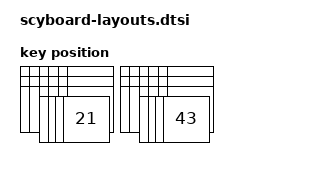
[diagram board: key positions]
#include <physical_layouts.dtsi>

/ {
    physical_layout0: physical_layout_0 {
        compatible = "zmk,physical-layout";
        display-name = "scyboard";

        kscan = <&kscan0>;
        transform = <&default_transform>;

        keys =
            <&key_physical_attrs 100 100  50  0   0  0  0>
          , <&key_physical_attrs 100 100  69  0   0  0  0>
          , <&key_physical_attrs 100 100  88  0   0  0  0>
          , <&key_physical_attrs 100 100 107  0   0  0  0>
          , <&key_physical_attrs 100 100 126  0   0  0  0>
          , <&key_physical_attrs 100 100 145  0   0  0  0>
          , <&key_physical_attrs 100 100  50 20   0  0  0>
          , <&key_physical_attrs 100 100  69 20   0  0  0>
          , <&key_physical_attrs 100 100  88 20   0  0  0>
          , <&key_physical_attrs 100 100 107 20   0  0  0>
          , <&key_physical_attrs 100 100 126 20   0  0  0>
          , <&key_physical_attrs 100 100 145 20   0  0  0>
          , <&key_physical_attrs 100 100  50 40   0  0  0>
          , <&key_physical_attrs 100 100  69 40   0  0  0>
          , <&key_physical_attrs 100 100  88 40   0  0  0>
          , <&key_physical_attrs 100 100 107 40   0  0  0>
          , <&key_physical_attrs 100 100 126 40   0  0  0>
          , <&key_physical_attrs 100 100 145 40   0  0  0>
          , <&key_physical_attrs 100 100  88 60   0  0  0>
          , <&key_physical_attrs 100 100 107 60   0  0  0>
          , <&key_physical_attrs 100 100 120 60   0  0  0>
          , <&key_physical_attrs 100 100 137 60   0  0  0>
          , <&key_physical_attrs 100 100 250  0   0  0  0>
          , <&key_physical_attrs 100 100 269  0   0  0  0>
          , <&key_physical_attrs 100 100 288  0   0  0  0>
          , <&key_physical_attrs 100 100 307  0   0  0  0>
          , <&key_physical_attrs 100 100 326  0   0  0  0>
          , <&key_physical_attrs 100 100 345  0   0  0  0>
          , <&key_physical_attrs 100 100 250 20   0  0  0>
          , <&key_physical_attrs 100 100 269 20   0  0  0>
          , <&key_physical_attrs 100 100 288 20   0  0  0>
          , <&key_physical_attrs 100 100 307 20   0  0  0>
          , <&key_physical_attrs 100 100 326 20   0  0  0>
          , <&key_physical_attrs 100 100 345 20   0  0  0>
          , <&key_physical_attrs 100 100 250 40   0  0  0>
          , <&key_physical_attrs 100 100 269 40   0  0  0>
          , <&key_physical_attrs 100 100 288 40   0  0  0>
          , <&key_physical_attrs 100 100 307 40   0  0  0>
          , <&key_physical_attrs 100 100 326 40   0  0  0>
          , <&key_physical_attrs 100 100 345 40   0  0  0>
          , <&key_physical_attrs 100 100 288 60   0  0  0>
          , <&key_physical_attrs 100 100 307 60   0  0  0>
          , <&key_physical_attrs 100 100 320 60   0  0  0>
          , <&key_physical_attrs 100 100 337 60   0  0  0>
        ;
    };
};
